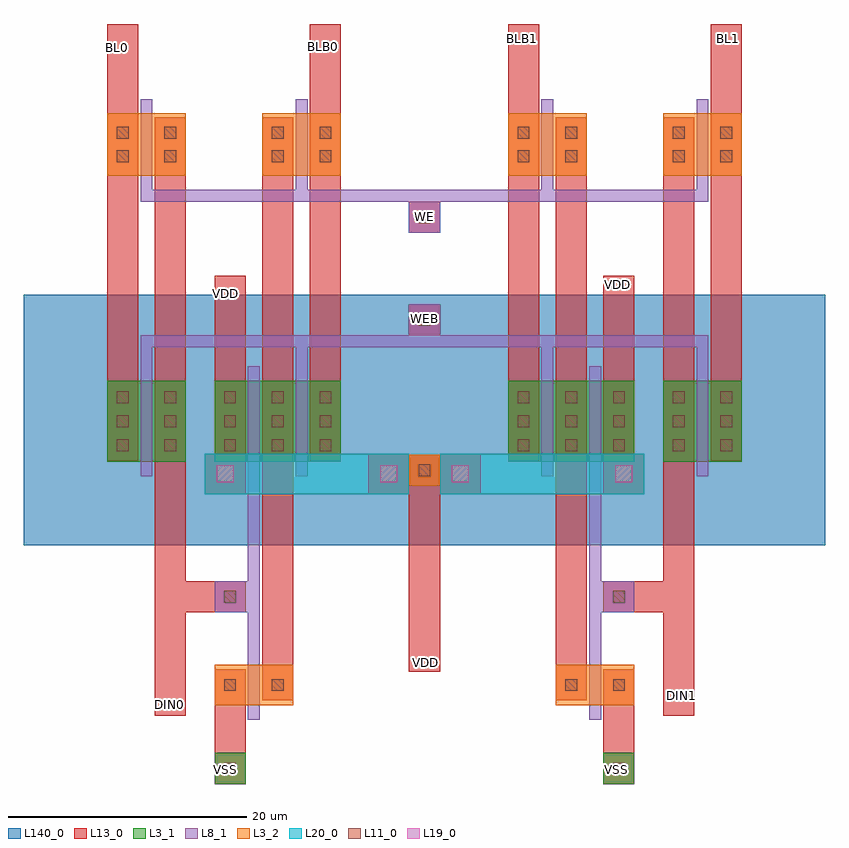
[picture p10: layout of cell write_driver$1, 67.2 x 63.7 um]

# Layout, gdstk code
from math import pi, radians
import gdstk
lib = gdstk.Library(unit=1e-6, precision=1e-09)
def R(c, l, rs):  # rectangles x0, y0, x1, y1
    for r in rs: c.add(gdstk.rectangle(r[:2], r[2:], *l))
def A(c, l, x, y, w, h, nx, ny, dx, dy):  # array of equal rectangles
    R(c, l, [(x+i*dx, y+j*dy, x+i*dx+w, y+j*dy+h) for i in range(nx) for j in range(ny)])
L3_1 = (3, 1)
L3_2 = (3, 2)
L8_1 = (8, 1)
L11_0 = (11, 0)
L13_0 = (13, 0)
L19_0 = (19, 0)
L20_0 = (20, 0)
L140_0 = (140, 0)

fet_n_2_1_1 = lib.new_cell('fet_n$2$1$1')
R(fet_n_2_1_1, L3_2, [(-3.3,-2.6,3.3,2.6)])
R(fet_n_2_1_1, L11_0, [(-2.5,-1.5,-1.5,-0.5), (1.5,-1.5,2.5,-0.5), (-2.5,0.5,-1.5,1.5), (1.5,0.5,2.5,1.5)])
R(fet_n_2_1_1, L13_0, [(-3.3,-2.3,-0.7,2.3), (0.7,-2.3,3.3,2.3)])
fet_n_2_1_1.add(gdstk.FlexPath([(0,-3.8),(0,3.8)], 1, ends="flush", simple_path=True, layer=8, datatype=1))  # L8_1

fet_p_3_1 = lib.new_cell('fet_p$3$1')
R(fet_p_3_1, L3_1, [(-3.3,-3.4,3.3,3.4)])
A(fet_p_3_1, L11_0, -2.5, -2.5, 1, 1, 1, 3, 0, 2)
A(fet_p_3_1, L11_0, 1.5, -2.5, 1, 1, 1, 3, 0, 2)
R(fet_p_3_1, L13_0, [(-3.3,-3.3,-0.7,3.3), (0.7,-3.3,3.3,3.3)])
fet_p_3_1.add(gdstk.FlexPath([(0,-4.6),(0,4.6)], 1, ends="flush", simple_path=True, layer=8, datatype=1))  # L8_1

fet_n_4_1 = lib.new_cell('fet_n$4$1')
R(fet_n_4_1, L3_2, [(-3.3,-1.7,3.3,1.7)])
R(fet_n_4_1, L11_0, [(-2.5,-0.5,-1.5,0.5), (1.5,-0.5,2.5,0.5)])
R(fet_n_4_1, L13_0, [(-3.3,-1.3,-0.7,1.3), (0.7,-1.3,3.3,1.3)])
fet_n_4_1.add(gdstk.FlexPath([(0,-2.9),(0,2.9)], 1, ends="flush", simple_path=True, layer=8, datatype=1))  # L8_1

cont_g_4_1 = lib.new_cell('cont_g$4$1')
R(cont_g_4_1, L8_1, [(-1.3,-1.3,1.3,1.3)])
R(cont_g_4_1, L11_0, [(-0.5,-0.5,0.5,0.5)])
R(cont_g_4_1, L13_0, [(-1.3,-1.3,1.3,1.3)])

cont_p_4_1 = lib.new_cell('cont_p$4$1')
R(cont_p_4_1, L3_1, [(-1.3,-1.3,1.3,1.3)])
R(cont_p_4_1, L11_0, [(-0.5,-0.5,0.5,0.5)])
R(cont_p_4_1, L13_0, [(-1.3,-1.3,1.3,1.3)])

cont_n_4_1 = lib.new_cell('cont_n$4$1')
R(cont_n_4_1, L3_2, [(-1.3,-1.3,1.3,1.3)])
R(cont_n_4_1, L11_0, [(-0.5,-0.5,0.5,0.5)])
R(cont_n_4_1, L13_0, [(-1.3,-1.3,1.3,1.3)])

via_1_2_1 = lib.new_cell('via_1$2$1')
R(via_1_2_1, L13_0, [(-1.7,-1.7,1.7,1.7)])
R(via_1_2_1, L19_0, [(-0.7,-0.7,0.7,0.7)])
R(via_1_2_1, L20_0, [(-1.7,-1.7,1.7,1.7)])

write_driver_1 = lib.new_cell('write_driver$1')
R(write_driver_1, L8_1, [(-1.7,-20.4,-0.7,-5.8), (26.9,-20.4,27.9,-5.8), (-1.9,-17.2,-1.7,-14.6), (27.9,-17.2,28.1,-14.6), (-10.7,3.4,-9.7,6), (2.3,3.4,3.3,6), (22.9,3.4,23.9,6), (35.9,3.4,36.9,6), (-10.7,5,36.9,6), (-10.7,17.2,36.9,18.2)])
R(write_driver_1, L13_0, [(-4.5,-29,-1.9,-22), (28.1,-29,30.7,-22), (-9.5,-25.9,-6.9,-4.5), (33.1,-25.9,35.7,2.1), (11.8,-22.2,14.4,-6.6), (24.1,-22.1,26.7,2.1), (-0.5,-22,2.1,2.2), (-6.9,-17.2,-4.5,-14.6), (30.7,-17.2,33.1,-14.6), (-13.5,2.1,-10.9,19.7), (-9.5,2.1,-6.9,19.7), (-4.5,2.1,-1.9,11), (-0.5,2.1,2.1,24.3), (3.5,2.1,6.1,19.7), (20.1,2.1,22.7,19.7), (24.1,2.1,26.7,24.3), (28.1,2.1,30.7,11), (33.1,2.1,35.7,19.7), (37.1,2.1,39.7,19.7), (-13.5,24.3,-10.9,32.1), (3.5,24.3,6.1,32.1), (20.1,24.3,22.7,32.1), (37.1,24.3,39.7,32.1)])
R(write_driver_1, L20_0, [(-5.3,-7.3,11.8,-3.9), (17.8,-7.3,28.1,-3.9)])
R(write_driver_1, L140_0, [(-20.5,-11.6,13.1,9.4), (13.1,-11.6,46.7,9.4)])
write_driver_1.add(gdstk.Reference(fet_n_2_1_1, (2.8,22)))
write_driver_1.add(gdstk.Reference(fet_p_3_1, (2.8,-1.2)))
write_driver_1.add(gdstk.Reference(fet_p_3_1, (-10.2,-1.2)))
write_driver_1.add(gdstk.Reference(fet_n_2_1_1, (-10.2,22)))
write_driver_1.add(gdstk.Reference(fet_n_2_1_1, (23.4,22), rotation=pi, x_reflection=True))
write_driver_1.add(gdstk.Reference(fet_p_3_1, (23.4,-1.2), rotation=pi, x_reflection=True))
write_driver_1.add(gdstk.Reference(fet_p_3_1, (36.4,-1.2), rotation=pi, x_reflection=True))
write_driver_1.add(gdstk.Reference(fet_n_2_1_1, (36.4,22), rotation=pi, x_reflection=True))
write_driver_1.add(gdstk.Reference(fet_p_3_1, (-1.2,-1.2), rotation=pi))
write_driver_1.add(gdstk.Reference(fet_n_4_1, (-1.2,-23.3), rotation=pi))
write_driver_1.add(gdstk.Reference(fet_p_3_1, (27.4,-1.2), x_reflection=True))
write_driver_1.add(gdstk.Reference(cont_g_4_1, (-3.2,-15.9), rotation=pi))
write_driver_1.add(gdstk.Reference(fet_n_4_1, (27.4,-23.3), x_reflection=True))
write_driver_1.add(gdstk.Reference(cont_g_4_1, (29.4,-15.9), x_reflection=True))
write_driver_1.add(gdstk.Reference(cont_g_4_1, (13.1,7.3), x_reflection=True))
write_driver_1.add(gdstk.Reference(cont_p_4_1, (-3.2,-30.3), rotation=pi))
write_driver_1.add(gdstk.Reference(cont_n_4_1, (13.1,-5.3), x_reflection=True))
write_driver_1.add(gdstk.Reference(cont_p_4_1, (29.4,-30.3), rotation=pi))
write_driver_1.add(gdstk.Reference(cont_g_4_1, (13.1,15.9), x_reflection=True))
write_driver_1.add(gdstk.Reference(via_1_2_1, (-3.6,-5.6), x_reflection=True))
write_driver_1.add(gdstk.Reference(via_1_2_1, (10.1,-5.6), x_reflection=True))
write_driver_1.add(gdstk.Reference(via_1_2_1, (16.1,-5.6), x_reflection=True))
write_driver_1.add(gdstk.Reference(via_1_2_1, (29.8,-5.6), x_reflection=True))
write_driver_1.add(gdstk.Label('VSS', (29.2,-30.4), layer=48, texttype=0))
write_driver_1.add(gdstk.Label('VSS', (-3.6,-30.4), layer=48, texttype=0))
write_driver_1.add(gdstk.Label('DIN0', (-8.3,-24.9), layer=48, texttype=0))
write_driver_1.add(gdstk.Label('DIN1', (34.6,-24.2), layer=48, texttype=0))
write_driver_1.add(gdstk.Label('VDD', (-3.6,9.5), layer=48, texttype=0))
write_driver_1.add(gdstk.Label('VDD', (29.3,10.3), layer=48, texttype=0))
write_driver_1.add(gdstk.Label('BL0', (-12.6,30.1), layer=48, texttype=0))
write_driver_1.add(gdstk.Label('BLB0', (4.6,30.2), layer=48, texttype=0))
write_driver_1.add(gdstk.Label('BL1', (38.6,30.9), layer=48, texttype=0))
write_driver_1.add(gdstk.Label('BLB1', (21.3,30.9), layer=48, texttype=0))
write_driver_1.add(gdstk.Label('VDD', (13.2,-21.4), layer=48, texttype=0))
write_driver_1.add(gdstk.Label('WEB', (13.1,7.4), layer=48, texttype=0))
write_driver_1.add(gdstk.Label('WE', (13.1,16), layer=48, texttype=0))

lib.write_gds('write_driver_1.gds')
